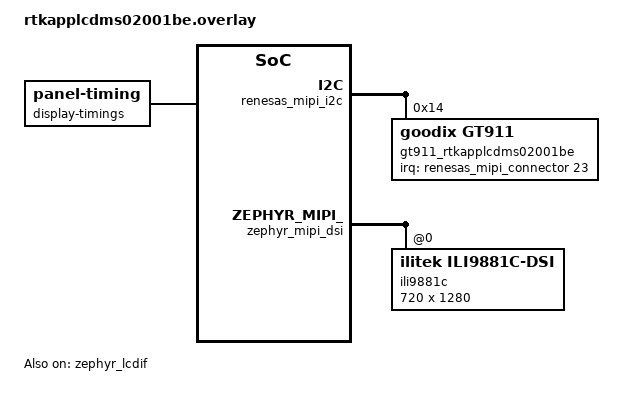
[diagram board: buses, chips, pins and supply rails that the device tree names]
/*
 * Copyright (c) 2025 Renesas Electronics Corporation
 *
 * SPDX-License-Identifier: Apache-2.0
 */

#include <zephyr/dt-bindings/display/panel.h>

/{
	chosen {
		zephyr,display = &zephyr_lcdif;
	};

	lvgl_pointer {
		compatible = "zephyr,lvgl-pointer-input";
		input = <&gt911_rtkapplcdms02001be>;
	};
};

&renesas_mipi_i2c {
	status = "okay";

	gt911_rtkapplcdms02001be: gt911-rtkapplcdms02001be@14 {
		compatible = "goodix,gt911";
		reg = <0x14>;
		irq-gpios = <&renesas_mipi_connector 23 GPIO_ACTIVE_HIGH>;
	};
};

&zephyr_mipi_dsi {
	status = "okay";

	ili9881c: ili9881c@0 {
		status = "okay";
		compatible = "ilitek,ili9881c-dsi";
		reg = <0x0>;
		height = <1280>;
		width = <720>;
		data-lanes = <4>;
		pixel-format = <MIPI_DSI_PIXFMT_RGB888>;
	};
};

&zephyr_lcdif {
	status = "okay";
	width = <720>;
	height = <1280>;
	input-pixel-format = <PANEL_PIXEL_FORMAT_RGB_888>;
	output-pixel-format = <PANEL_PIXEL_FORMAT_RGB_888>;

	display-timings {
		compatible = "zephyr,panel-timing";
		hsync-len = <33>;
		hback-porch = <100>;
		vsync-len = <2>;
		vback-porch = <30>;
		hsync-active = <1>;
		vsync-active = <1>;
		de-active = <1>;
		pixelclk-active = <0>;
		hfront-porch = <133>;
		vfront-porch = <22>;
	};
	backlight-gpios = <&renesas_mipi_connector 21 GPIO_ACTIVE_HIGH>;
};
